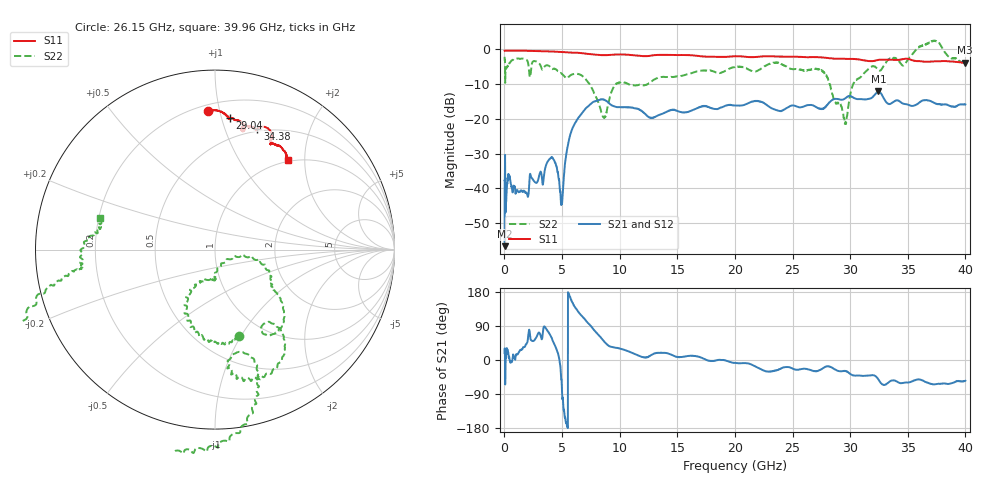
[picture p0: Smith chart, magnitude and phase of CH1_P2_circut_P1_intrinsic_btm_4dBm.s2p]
!Keysight Technologies,N5222B,MY61257109,A.17.25.03
!Date: Wednesday, July 22, 2026 17:22:20
!Correction: S11(C  2-Port  )
!S21(C  2-Port  )
!S12(C  2-Port  )
!S22(C  2-Port  )
!S2P File: Measurements: S11, S21, S12, S22:
# Hz S  dB  R 50
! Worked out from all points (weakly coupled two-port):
!   4000 points, 10 MHz to 40 GHz, reference 50 ohm
!   highest |S21| = -12.09 dB at 32.45 GHz (marker M1); lowest = -56.7 dB at 10 MHz (marker M2)
!   lowest |S11| = -3.8 dB at 39.97 GHz (marker M3), VSWR 4.61, Z = 48.6 + j82.9 ohm
!   |S11| at or under -10 dB: nowhere
!   |S22| runs from -21.5 to 2.6 dB; largest |S21 - S12| = 0.0041
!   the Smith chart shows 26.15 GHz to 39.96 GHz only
!   S11 on the Smith chart (normalised r, x): 26.15 GHz: 0.24, +0.92; 29.04 GHz: 0.33, +1.06; 34.38 GHz: 0.47, +1.30; 39.96 GHz: 0.97, +1.66
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1e7  -0.39 179.8  -56.68 18.1  -56.36 32.1  -2.13 -47.6
5.9e8  -0.34 177.3  -39.33 -5.9  -39.32 -5.8  -3.30 166.2
1.73e9  -0.37 172.3  -40.80 34.1  -40.76 34.1  -2.72 101.5
4.07e9  -0.56 161.8  -31.20 60.2  -31.18 60.1  -5.55 34.0
4.96e9  -0.77 157.8  -44.01 -56.5  -44.33 -58.3  -6.93 17.6
5.64e9  -0.89 155.7  -25.45 168.8  -25.42 169.0  -7.66 18.9
6.68e9  -1.05 151.1  -18.56 117.1  -18.52 117.1  -7.47 -5.9
8.62e9  -1.66 146.8  -14.43 49.8  -14.47 49.7  -19.55 8.8
1.334e10  -1.57 134.2  -18.96 18.7  -18.95 18.8  -8.17 8.4
2.001e10  -1.93 113.2  -16.14 -7.8  -16.14 -6.6  -5.03 -29.1
2.615e10  -2.22 92.7  -16.20 -23.3  -16.18 -23.3  -6.02 -74.8
2.667e10  -2.21 91.3  -16.00 -27.6  -16.00 -27.9  -5.73 -78.2
2.904e10  -2.66 83.5  -14.35 -29.5  -14.36 -29.5  -15.31 -88.8
3.245e10  -3.02 77.1  -12.09 -51.5  -12.16 -51.3  -5.93 -59.5
3.334e10  -2.94 73.1  -15.69 -58.9  -15.71 -59.1  -2.81 -59.3
3.438e10  -2.92 70.7  -15.15 -61.4  -15.16 -61.1  -4.05 -83.2
3.561e10  -3.30 62.9  -16.11 -53.2  -16.11 -53.1  -0.55 -78.0
3.692e10  -3.52 62.1  -14.80 -62.5  -14.81 -62.1  2.03 -116.6
3.772e10  -3.41 59.6  -15.70 -63.0  -15.74 -63.0  1.90 -153.4
3.996e10  -3.82 51.0  -15.77 -55.7  -15.78 -55.4  -3.55 164.7
3.997e10  -3.83 50.9  -15.77 -55.5  -15.78 -55.3  -3.58 164.7
4e10  -3.79 50.6  -15.82 -54.7  -15.79 -55.1  -3.69 163.7
